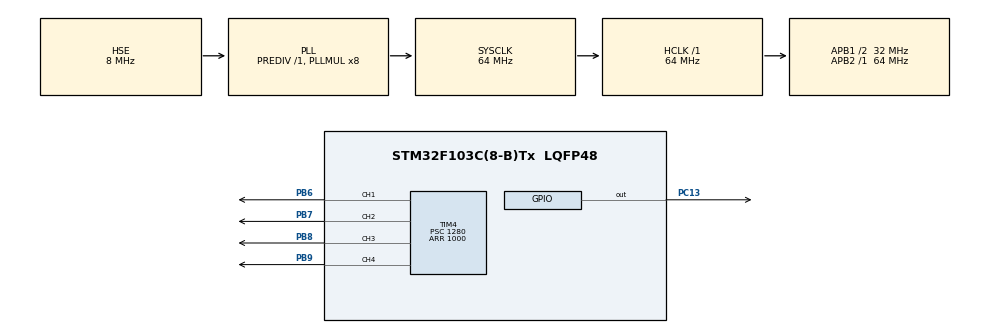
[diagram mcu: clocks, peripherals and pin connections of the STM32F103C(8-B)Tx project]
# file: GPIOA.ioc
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Mcu.Family=STM32F1
Mcu.Name=STM32F103C(8-B)Tx
Mcu.Package=LQFP48
NVIC.PriorityGroup=NVIC_PRIORITYGROUP_4
PB6.Signal=S_TIM4_CH1
PB7.Signal=S_TIM4_CH2
PB8.Signal=S_TIM4_CH3
PB9.Signal=S_TIM4_CH4
PC13-TAMPER-RTC.Signal=GPIO_Output
PD0-OSC_IN.Mode=HSE-External-Oscillator
PD0-OSC_IN.Signal=RCC_OSC_IN
PD1-OSC_OUT.Mode=HSE-External-Oscillator
PD1-OSC_OUT.Signal=RCC_OSC_OUT
ProjectManager.HeapSize=0x200
ProjectManager.StackSize=0x400
ProjectManager.TargetToolchain=MDK-ARM V5
RCC.AHBFreq_Value=64000000
RCC.APB1CLKDivider=RCC_HCLK_DIV2
RCC.APB1Freq_Value=32000000
RCC.APB1TimFreq_Value=64000000
RCC.APB2Freq_Value=64000000
RCC.APB2TimFreq_Value=64000000
RCC.HCLKFreq_Value=64000000
RCC.PLLMUL=RCC_PLL_MUL8
RCC.PLLSourceVirtual=RCC_PLLSOURCE_HSE
RCC.SYSCLKFreq_VALUE=64000000
RCC.SYSCLKSource=RCC_SYSCLKSOURCE_PLLCLK
RCC.USBFreq_Value=42666666.666666664
RCC.USBPrescaler=RCC_USBCLKSOURCE_PLL_DIV1_5
SH.S_TIM4_CH1.0=TIM4_CH1,PWM Generation1 CH1
SH.S_TIM4_CH2.0=TIM4_CH2,PWM Generation2 CH2
SH.S_TIM4_CH3.0=TIM4_CH3,PWM Generation3 CH3
SH.S_TIM4_CH4.0=TIM4_CH4,PWM Generation4 CH4
TIM4.Channel-PWM\ Generation1\ CH1=TIM_CHANNEL_1
TIM4.Channel-PWM\ Generation2\ CH2=TIM_CHANNEL_2
TIM4.Channel-PWM\ Generation3\ CH3=TIM_CHANNEL_3
TIM4.Channel-PWM\ Generation4\ CH4=TIM_CHANNEL_4
TIM4.Period=1000
TIM4.Prescaler=1280
VP_SYS_VS_ND.Mode=No_Debug
VP_TIM4_VS_ClockSourceINT.Mode=Internal
board=GPIOA

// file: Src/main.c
/**
  ******************************************************************************
  * @file           : main.c
  * @brief          : Main program body
  ******************************************************************************
  ** This notice applies to any and all portions of this file
  * that are not between comment pairs USER CODE BEGIN and
  * USER CODE END. Other portions of this file, whether
  * inserted by the user or by software development tools
  * are owned by their respective copyright owners.
  *
  * COPYRIGHT(c) 2020 STMicroelectronics
  *
  * Redistribution and use in source and binary forms, with or without modification,
  * are permitted provided that the following conditions are met:
  *   1. Redistributions of source code must retain the above copyright notice,
  *      this list of conditions and the following disclaimer.
  *   2. Redistributions in binary form must reproduce the above copyright notice,
  *      this list of conditions and the following disclaimer in the documentation
  *      and/or other materials provided with the distribution.
  *   3. Neither the name of STMicroelectronics nor the names of its contributors
  *      may be used to endorse or promote products derived from this software
  *      without specific prior written permission.
  *
  * THIS SOFTWARE IS PROVIDED BY THE COPYRIGHT HOLDERS AND CONTRIBUTORS "AS IS"
  * AND ANY EXPRESS OR IMPLIED WARRANTIES, INCLUDING, BUT NOT LIMITED TO, THE
  * IMPLIED WARRANTIES OF MERCHANTABILITY AND FITNESS FOR A PARTICULAR PURPOSE ARE
  * DISCLAIMED. IN NO EVENT SHALL THE COPYRIGHT HOLDER OR CONTRIBUTORS BE LIABLE
  * FOR ANY DIRECT, INDIRECT, INCIDENTAL, SPECIAL, EXEMPLARY, OR CONSEQUENTIAL
  * DAMAGES (INCLUDING, BUT NOT LIMITED TO, PROCUREMENT OF SUBSTITUTE GOODS OR
  * SERVICES; LOSS OF USE, DATA, OR PROFITS; OR BUSINESS INTERRUPTION) HOWEVER
  * CAUSED AND ON ANY THEORY OF LIABILITY, WHETHER IN CONTRACT, STRICT LIABILITY,
  * OR TORT (INCLUDING NEGLIGENCE OR OTHERWISE) ARISING IN ANY WAY OUT OF THE USE
  * OF THIS SOFTWARE, EVEN IF ADVISED OF THE POSSIBILITY OF SUCH DAMAGE.
  *
  ******************************************************************************
  */
#include "main.h"
#include "stm32f1xx_hal.h"

TIM_HandleTypeDef htim4;

/* USER CODE BEGIN PV */
/* Private variables ---------------------------------------------------------*/

int duty1=450,duty2=450,duty3=450,duty4=450,duty;
int min1=440,min2=440,min3=440,min4=440; // muc thap nhat cho dong co chay la 48 - 61 52 48    B6 B7 B8 B9
int max1=600,max2=600,max3=600,max4=600;

/* USER CODE END PV */

void SystemClock_Config(void);
static void MX_GPIO_Init(void);
static void MX_TIM4_Init(void);
void HAL_TIM_MspPostInit(TIM_HandleTypeDef *htim);

/* USER CODE BEGIN PFP */
/* Private function prototypes -----------------------------------------------*/

/* USER CODE END PFP */

/* USER CODE BEGIN 0 */

void SetPmw()
{
	if(duty1<min1)
		duty1=min1;
	if(duty2<min2)
		duty2=min2;
	if(duty3<min3)
		duty3=min3;
	if(duty4<min4)
		duty4=min4;

	if(duty1>max1)
		duty1=max1;
	if(duty2>max2)
		duty2=max2;
	if(duty3>max3)
		duty3=max3;
	if(duty4>max4)
		duty4=max4;
}

/* USER CODE END 0 */

int main(void)
{

  /* MCU Configuration----------------------------------------------------------*/

  /* Reset of all peripherals, Initializes the Flash interface and the Systick. */
  HAL_Init();

  /* Configure the system clock */
  SystemClock_Config();

  /* Initialize all configured peripherals */
  MX_GPIO_Init();
  MX_TIM4_Init();
  /* USER CODE BEGIN 2 */

	HAL_TIM_PWM_Start(&htim4,TIM_CHANNEL_1);
	HAL_TIM_PWM_Start(&htim4,TIM_CHANNEL_2);
	HAL_TIM_PWM_Start(&htim4,TIM_CHANNEL_3);
	HAL_TIM_PWM_Start(&htim4,TIM_CHANNEL_4);
	__HAL_TIM_SET_COMPARE(&htim4,TIM_CHANNEL_1,duty1);
	__HAL_TIM_SET_COMPARE(&htim4,TIM_CHANNEL_2,duty2);
	__HAL_TIM_SET_COMPARE(&htim4,TIM_CHANNEL_3,duty3);
	__HAL_TIM_SET_COMPARE(&htim4,TIM_CHANNEL_4,duty4);

  /* USER CODE END 2 */

  /* Infinite loop */
  /* USER CODE BEGIN WHILE */
  while (1) // duty 2 la kv 1000
  {

  /* USER CODE END WHILE */

  }

}

void SystemClock_Config(void)
{

  RCC_OscInitTypeDef RCC_OscInitStruct;
  RCC_ClkInitTypeDef RCC_ClkInitStruct;

    /**Initializes the CPU, AHB and APB busses clocks
    */
  RCC_OscInitStruct.OscillatorType = RCC_OSCILLATORTYPE_HSE;
  RCC_OscInitStruct.HSEState = RCC_HSE_ON;
  RCC_OscInitStruct.HSEPredivValue = RCC_HSE_PREDIV_DIV1;
  RCC_OscInitStruct.HSIState = RCC_HSI_ON;
  RCC_OscInitStruct.PLL.PLLState = RCC_PLL_ON;
  RCC_OscInitStruct.PLL.PLLSource = RCC_PLLSOURCE_HSE;
  RCC_OscInitStruct.PLL.PLLMUL = RCC_PLL_MUL8;
  if (HAL_RCC_OscConfig(&RCC_OscInitStruct) != HAL_OK)
  {
    _Error_Handler(__FILE__, __LINE__);
  }

    /**Initializes the CPU, AHB and APB busses clocks
    */
  RCC_ClkInitStruct.ClockType = RCC_CLOCKTYPE_HCLK|RCC_CLOCKTYPE_SYSCLK
                              |RCC_CLOCKTYPE_PCLK1|RCC_CLOCKTYPE_PCLK2;
  RCC_ClkInitStruct.SYSCLKSource = RCC_SYSCLKSOURCE_PLLCLK;
  RCC_ClkInitStruct.AHBCLKDivider = RCC_SYSCLK_DIV1;
  RCC_ClkInitStruct.APB1CLKDivider = RCC_HCLK_DIV2;
  RCC_ClkInitStruct.APB2CLKDivider = RCC_HCLK_DIV1;

  if (HAL_RCC_ClockConfig(&RCC_ClkInitStruct, FLASH_LATENCY_2) != HAL_OK)
  {
    _Error_Handler(__FILE__, __LINE__);
  }

    /**Configure the Systick interrupt time
    */
  HAL_SYSTICK_Config(HAL_RCC_GetHCLKFreq()/1000);

    /**Configure the Systick
    */
  HAL_SYSTICK_CLKSourceConfig(SYSTICK_CLKSOURCE_HCLK);

  /* SysTick_IRQn interrupt configuration */
  HAL_NVIC_SetPriority(SysTick_IRQn, 0, 0);
}

/* TIM4 init function */
static void MX_TIM4_Init(void)
{

  TIM_ClockConfigTypeDef sClockSourceConfig;
  TIM_MasterConfigTypeDef sMasterConfig;
  TIM_OC_InitTypeDef sConfigOC;

  htim4.Instance = TIM4;
  htim4.Init.Prescaler = 1280;
  htim4.Init.CounterMode = TIM_COUNTERMODE_UP;
  htim4.Init.Period = 1000;
  htim4.Init.ClockDivision = TIM_CLOCKDIVISION_DIV1;
  htim4.Init.AutoReloadPreload = TIM_AUTORELOAD_PRELOAD_DISABLE;
  if (HAL_TIM_Base_Init(&htim4) != HAL_OK)
  {
    _Error_Handler(__FILE__, __LINE__);
  }

  sClockSourceConfig.ClockSource = TIM_CLOCKSOURCE_INTERNAL;
  if (HAL_TIM_ConfigClockSource(&htim4, &sClockSourceConfig) != HAL_OK)
  {
    _Error_Handler(__FILE__, __LINE__);
  }

  if (HAL_TIM_PWM_Init(&htim4) != HAL_OK)
  {
    _Error_Handler(__FILE__, __LINE__);
  }

  sMasterConfig.MasterOutputTrigger = TIM_TRGO_RESET;
  sMasterConfig.MasterSlaveMode = TIM_MASTERSLAVEMODE_DISABLE;
  if (HAL_TIMEx_MasterConfigSynchronization(&htim4, &sMasterConfig) != HAL_OK)
  {
    _Error_Handler(__FILE__, __LINE__);
  }

  sConfigOC.OCMode = TIM_OCMODE_PWM1;
  sConfigOC.Pulse = 0;
  sConfigOC.OCPolarity = TIM_OCPOLARITY_HIGH;
  sConfigOC.OCFastMode = TIM_OCFAST_DISABLE;
  if (HAL_TIM_PWM_ConfigChannel(&htim4, &sConfigOC, TIM_CHANNEL_1) != HAL_OK)
  {
    _Error_Handler(__FILE__, __LINE__);
  }

  if (HAL_TIM_PWM_ConfigChannel(&htim4, &sConfigOC, TIM_CHANNEL_2) != HAL_OK)
  {
    _Error_Handler(__FILE__, __LINE__);
  }

  if (HAL_TIM_PWM_ConfigChannel(&htim4, &sConfigOC, TIM_CHANNEL_3) != HAL_OK)
  {
    _Error_Handler(__FILE__, __LINE__);
  }

  if (HAL_TIM_PWM_ConfigChannel(&htim4, &sConfigOC, TIM_CHANNEL_4) != HAL_OK)
  {
    _Error_Handler(__FILE__, __LINE__);
  }

  HAL_TIM_MspPostInit(&htim4);

}

/** Configure pins as
        * Analog
        * Input
        * Output
        * EVENT_OUT
        * EXTI
*/
static void MX_GPIO_Init(void)
{

  GPIO_InitTypeDef GPIO_InitStruct;

  /* GPIO Ports Clock Enable */
  __HAL_RCC_GPIOC_CLK_ENABLE();
  __HAL_RCC_GPIOD_CLK_ENABLE();
  __HAL_RCC_GPIOB_CLK_ENABLE();

  /*Configure GPIO pin Output Level */
  HAL_GPIO_WritePin(GPIOC, GPIO_PIN_13, GPIO_PIN_RESET);

  /*Configure GPIO pin : PC13 */
  GPIO_InitStruct.Pin = GPIO_PIN_13;
  GPIO_InitStruct.Mode = GPIO_MODE_OUTPUT_PP;
  GPIO_InitStruct.Speed = GPIO_SPEED_FREQ_LOW;
  HAL_GPIO_Init(GPIOC, &GPIO_InitStruct);

}

/* USER CODE BEGIN 4 */
void HAL_GPIO_EXTI_Callback(uint16_t GPIO_Pin)
{

}
/* USER CODE END 4 */

void _Error_Handler(char *file, int line)
{
  while(1)
  {
  }
}

/************************ (C) COPYRIGHT STMicroelectronics *****END OF FILE****/
